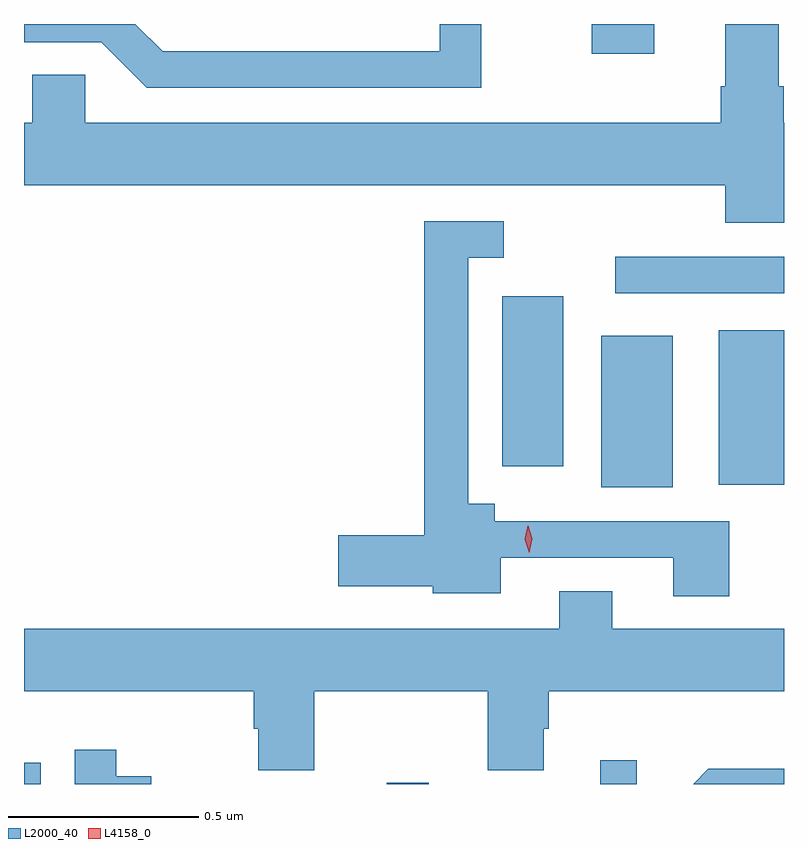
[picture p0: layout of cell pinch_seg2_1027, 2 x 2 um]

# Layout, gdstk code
import gdstk
lib = gdstk.Library(unit=1e-6, precision=1e-09)
def R(c, l, rs):  # rectangles x0, y0, x1, y1
    for r in rs: c.add(gdstk.rectangle(r[:2], r[2:], *l))
def P(c, l, *ps):  # polygons
    for p in ps: c.add(gdstk.Polygon(p, *l))
L2000_40 = (2000, 40)
L4158_0 = (4158, 0)

pinch_seg2_1027 = lib.new_cell('pinch_seg2_1027')
R(pinch_seg2_1027, L2000_40, [(237.991,615.424,238.035,615.48), (238.945,615.424,239.056,615.427), (239.507,615.424,239.604,615.487), (239.51,616.205,239.698,616.603), (239.819,616.211,239.991,616.618), (239.249,616.26,239.41,616.708), (239.547,616.716,239.991,616.812), (239.485,617.346,239.65,617.424)])
P(pinch_seg2_1027, L2000_40, [(239.194,617.424),(239.085,617.424),(239.085,617.352),(238.356,617.352),(238.284,617.424),(237.991,617.424),(237.991,617.376),(238.194,617.376),(238.314,617.256),(239.194,617.256)],
  [(239.991,617.164),(239.99,617.164),(239.99,617.26),(239.977,617.26),(239.977,617.424),(239.837,617.424),(239.837,617.26),(239.825,617.26),(239.825,617.164),(238.152,617.164),(238.152,617.291),(238.013,617.291),(238.013,617.164),(237.991,617.164),(237.991,617),(239.837,617),(239.837,616.901),(239.991,616.901)],
  [(239.847,616.116),(239.23,616.116),(239.23,616.162),(239.16,616.162),(239.16,616.809),(239.254,616.809),(239.254,616.905),(239.044,616.905),(239.044,616.079),(238.818,616.079),(238.818,615.944),(239.067,615.944),(239.067,615.926),(239.245,615.926),(239.245,616.02),(239.699,616.02),(239.699,615.918),(239.847,615.918)],
  [(238.755,615.668),(239.212,615.668),(239.212,615.46),(239.359,615.46),(239.359,615.57),(239.372,615.57),(239.372,615.668),(239.991,615.668),(239.991,615.832),(239.539,615.832),(239.539,615.931),(239.399,615.931),(239.399,615.832),(237.991,615.832),(237.991,615.668),(238.595,615.668),(238.595,615.57),(238.607,615.57),(238.607,615.46),(238.755,615.46)],
  [(238.326,615.444),(238.234,615.444),(238.234,615.514),(238.125,615.514),(238.125,615.424),(238.326,615.424)],
  [(239.991,615.464),(239.792,615.464),(239.752,615.424),(239.991,615.424)])
P(pinch_seg2_1027, L4158_0, [(239.32,616.033),(239.32,616.033),(239.309,616.068),(239.317,616.104),(239.317,616.104),(239.318,616.104),(239.329,616.069),(239.32,616.033)])

lib.write_gds('pinch_seg2_1027.gds')
